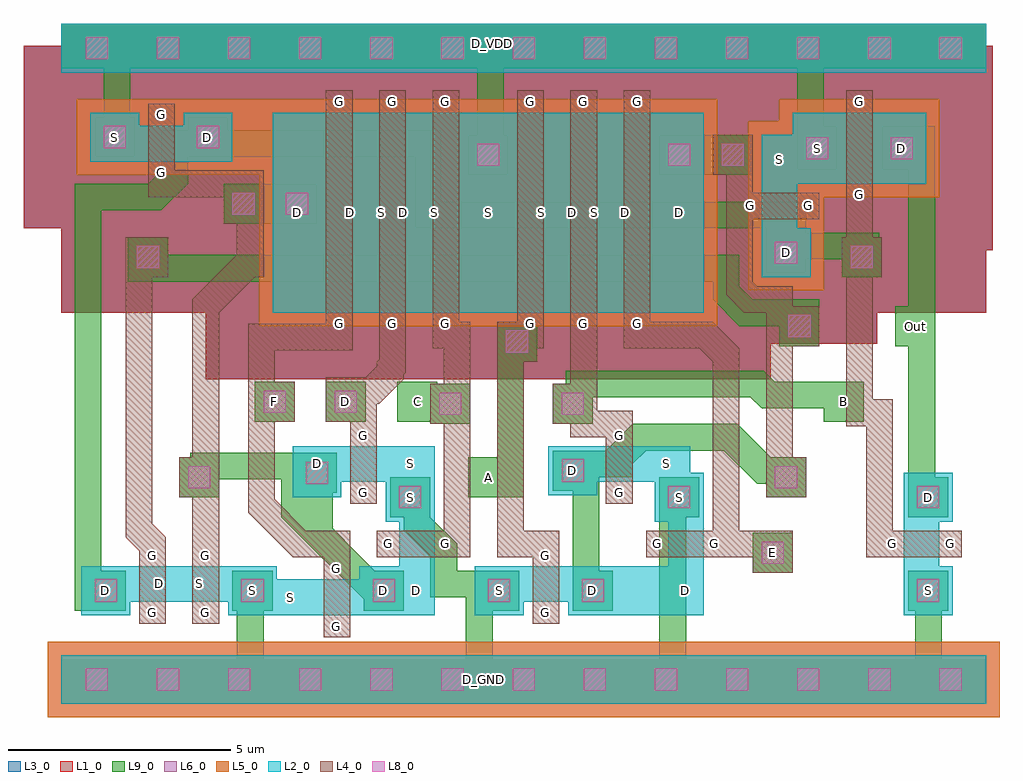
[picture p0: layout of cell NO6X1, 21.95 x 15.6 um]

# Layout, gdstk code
import gdstk
lib = gdstk.Library(unit=1e-6, precision=1e-09)
def R(c, l, rs):  # rectangles x0, y0, x1, y1
    for r in rs: c.add(gdstk.rectangle(r[:2], r[2:], *l))
def A(c, l, x, y, w, h, nx, ny, dx, dy):  # array of equal rectangles
    R(c, l, [(x+i*dx, y+j*dy, x+i*dx+w, y+j*dy+h) for i in range(nx) for j in range(ny)])
def P(c, l, *ps):  # polygons
    for p in ps: c.add(gdstk.Polygon(p, *l))
L1_0 = (1, 0)
L2_0 = (2, 0)
L3_0 = (3, 0)
L4_0 = (4, 0)
L5_0 = (5, 0)
L6_0 = (6, 0)
L8_0 = (8, 0)
L9_0 = (9, 0)

gridx1 = lib.new_cell('GRIDX1')
R(gridx1, L1_0, [(0,8.8,1.6,15.3)])
R(gridx1, L2_0, [(0,0,1.6,1.1), (0,14.2,1.6,15.3)])
R(gridx1, L3_0, [(0,8.8,1.6,15.3)])
R(gridx1, L5_0, [(0,-0.3,1.6,1.4)])
R(gridx1, L6_0, [(0,-0.3,1.6,1.4)])
R(gridx1, L8_0, [(0.55,0.3,1.05,0.8), (0.55,14.5,1.05,15)])
R(gridx1, L9_0, [(0,0,1.6,1), (0,14.3,1.6,15.3)])

no6x1 = lib.new_cell('NO6X1')
A(no6x1, L1_0, 3.25, 7.3, 6, 7.5, 3, 1, 1.2, 0)
A(no6x1, L1_0, 7.55, 7.3, 6, 7.5, 3, 1, 1.2, 0)
R(no6x1, L1_0, [(14.25,8.1,18.35,14.3), (0,8.8,1.6,15.3), (19.2,8.8,20.8,15.3), (14.95,10.2,20.95,14.8), (-0.85,10.7,5.35,14.8)])
A(no6x1, L2_0, 5.85, 8.8, 0.8, 4.5, 3, 1, 1.2, 0)
A(no6x1, L2_0, 10.15, 8.8, 0.8, 4.5, 3, 1, 1.2, 0)
R(no6x1, L2_0, [(0,0,1.6,1.1), (19.2,0,20.8,1.1), (0.45,2,1.55,3.1), (3.75,2,4.85,3.1), (4.6,2,5.7,2.8), (5.7,2,6.7,2.8), (6.7,2,7.8,3.1), (7.6,2,8.4,3.1), (9.3,2,10.4,3.1), (11.4,2,12.5,3.1), (11.4,2,14.25,3.1), (13.65,2,14.45,3.1), (18.95,2,20.05,3.1), (1.55,2.3,2.55,3.1), (1.65,2.3,2.75,3.1), (2.55,2.3,3.65,3.1), (2.75,2.3,3.75,3.1), (10.4,2.3,11.4,3.1), (7.6,3.1,8.4,4.1), (13.65,3.1,14.45,4.1), (18.95,3.1,19.75,4.1), (7.3,4.1,8.4,5.2), (13.35,4.1,14.45,5.2), (18.95,4.1,20.05,5.2), (5.2,4.65,6.3,5.8), (10.95,4.7,12.05,5.8), (5.2,5,6.3,5.8), (6.3,5,7.3,5.8), (7.3,5,8.4,5.8), (12.05,5,13.05,5.8), (13.05,5,14.15,5.8), (4.75,8.8,5.85,13.3), (5.95,8.8,7.05,13.3), (6.65,8.8,7.75,13.3), (7.15,8.8,8.25,13.3), (7.85,8.8,8.95,13.3), (9.05,8.8,10.15,13.3), (9.05,8.8,10.15,13.3), (10.25,8.8,11.35,13.3), (10.95,8.8,12.05,13.3), (11.45,8.8,12.55,13.3), (12.15,8.8,13.25,13.3), (13.35,8.8,14.45,13.3), (15.75,9.6,16.85,10.7), (15.75,10.7,16.55,11.7), (15.75,11.7,16.55,12.8), (16.45,11.7,17.55,13.3), (17.55,11.7,18.35,13.3), (18.35,11.7,19.45,13.3), (0.65,12.2,1.75,13.3), (1.75,12.2,2.75,13), (2.75,12.2,3.85,13.3), (0,14.2,1.6,15.3), (19.2,14.2,20.8,15.3)])
A(no6x1, L3_0, 3.25, 7.3, 6, 7.5, 3, 1, 1.2, 0)
A(no6x1, L3_0, 7.55, 7.3, 6, 7.5, 3, 1, 1.2, 0)
R(no6x1, L3_0, [(14.25,8.1,18.35,14.3), (0,8.8,1.6,15.3), (19.2,8.8,20.8,15.3), (14.95,10.2,20.95,14.8), (-0.85,10.7,5.35,14.8)])
A(no6x1, L4_0, 5.95, 8.3, 0.6, 5.5, 3, 1, 1.2, 0)
A(no6x1, L4_0, 5.95, 8.3, 0.6, 0.5, 3, 2, 1.2, 5)
A(no6x1, L4_0, 10.25, 8.3, 0.6, 5.5, 3, 1, 1.2, 0)
A(no6x1, L4_0, 10.25, 8.3, 0.6, 0.5, 3, 2, 1.2, 5)
R(no6x1, L4_0, [(5.9,1.5,6.5,2), (5.9,1.5,6.5,3.3), (1.75,1.8,2.35,2.3), (1.75,1.8,2.35,3.6), (2.95,1.8,3.55,2.3), (2.95,1.8,3.55,3.6), (10.6,1.8,11.2,2.3), (10.6,1.8,11.2,3.6), (5.9,2.8,6.5,3.3), (15.55,2.95,16.45,3.85), (2.95,3,3.55,5.55), (1.75,3.1,2.35,3.6), (2.95,3.1,3.55,3.6), (10.6,3.1,11.2,3.6), (7.1,3.3,8.9,3.9), (7.1,3.3,7.6,3.9), (7.1,3.3,9.2,3.9), (8.4,3.3,8.9,3.9), (8.6,3.3,9.2,8.5), (13.15,3.3,14.95,3.9), (13.15,3.3,13.65,3.9), (14.05,3.3,16.45,3.9), (14.45,3.3,14.95,3.9), (18.1,3.3,18.7,6.85), (18.45,3.3,20.25,3.9), (18.45,3.3,18.95,3.9), (19.75,3.3,20.25,3.9), (6.5,4.5,7.1,5), (6.5,4.5,7.1,6.3), (12.25,4.5,12.85,5), (12.25,4.5,12.85,6.3), (2.65,4.65,3.55,5.55), (15.85,4.65,16.75,5.55), (6.5,5.7,7.1,7.35), (6.5,5.8,7.1,6.3), (12.25,5.8,12.85,6.3), (8.3,6.3,9.2,7.2), (11.05,6.3,11.95,7.2), (4.35,6.35,5.25,7.25), (5.95,6.35,6.85,7.25), (9.8,7.7,10.7,8.6), (8.35,8,9.2,8.6), (16.15,8.05,17.05,8.95), (14.95,9.35,15.55,11.5), (1.5,9.6,2.4,10.5), (17.55,9.6,18.45,10.5), (3.65,10.8,4.55,11.7), (14.95,10.9,15.55,12.8), (15.25,10.9,17.05,11.5), (15.25,10.9,15.75,11.5), (16.55,10.9,17.05,11.5), (17.65,11.2,18.25,11.7), (17.65,11.2,18.25,13.8), (1.95,11.7,2.55,12.2), (1.95,11.7,2.55,13.5), (14.65,11.9,15.55,12.8), (1.95,13,2.55,13.5), (17.65,13.3,18.25,13.8)])
P(no6x1, L4_0, [(1.95,11.4),(3.5,11.4),(3.5,12),(2.55,12),(2.55,12.3),(1.95,12.3)],
  [(1.45,3.75),(1.75,3.45),(1.75,3.05),(2.35,3.05),(2.35,3.75),(2.05,4.05),(2.05,10.5),(1.45,10.5)],
  [(2.9,11.4),(3.95,11.4),(3.95,9.6),(4.55,9.6),(4.55,12),(2.9,12)],
  [(4.2,4.3),(5.2,3.3),(5.9,3.3),(5.9,2.65),(6.5,2.65),(6.5,3.9),(5.5,3.9),(4.8,4.6),(4.8,7.95),(6.55,7.95),(6.55,8.55),(4.2,8.55)],
  [(14.95,9.2),(15.35,8.8),(15.85,8.8),(15.85,4.65),(16.45,4.65),(16.45,9.4),(15.65,9.4),(15.55,9.5),(15.55,10.5),(14.95,10.5)],
  [(17.65,6.25),(18.7,6.25),(18.7,6.85),(18.25,6.85),(18.25,13.35),(17.65,13.35)],
  [(9.8,3.3),(10.6,3.3),(10.6,1.8),(11.2,1.8),(11.2,3.9),(10.4,3.9),(10.4,8),(10.85,8),(10.85,9.3),(10.25,9.3),(10.25,8.6),(9.8,8.6)],
  [(11.45,6),(12.25,6),(12.25,4.7),(12.85,4.7),(12.85,6.6),(12.05,6.6),(12.05,9.45),(11.45,9.45)],
  [(12.65,8),(14.35,8),(14.65,7.7),(14.65,3.3),(15.25,3.3),(15.25,8),(14.65,8.6),(13.25,8.6),(13.25,9.25),(12.65,9.25)],
  [(2.95,4.95),(3.55,4.95),(3.55,8.8),(4.55,9.8),(4.55,10.5),(3.95,10.5),(3.95,10.1),(2.95,9.1)],
  [(5.95,6.75),(7.15,6.75),(7.7,7.3),(7.7,7.4),(7.75,7.45),(7.75,9.35),(7.15,9.35),(7.15,7.75),(7.1,7.7),(7.1,7.6),(6.85,7.35),(5.95,7.35)])
A(no6x1, L5_0, 4.45, 8.5, 3.6, 5.1, 3, 1, 1.2, 0)
A(no6x1, L5_0, 8.75, 8.5, 3.6, 5.1, 3, 1, 1.2, 0)
R(no6x1, L5_0, [(-0.3,-0.3,1.6,1.4), (19.2,-0.3,21.1,1.4), (15.45,9.3,17.15,13.1), (16.15,11.4,19.75,13.6), (0.35,11.9,4.15,13.6), (3.6,11.9,5.5,13.6)])
A(no6x1, L6_0, 4.45, 8.5, 3.6, 5.1, 3, 1, 1.2, 0)
A(no6x1, L6_0, 8.75, 8.5, 3.6, 5.1, 3, 1, 1.2, 0)
R(no6x1, L6_0, [(-0.3,-0.3,1.6,1.4), (19.2,-0.3,21.1,1.4), (15.45,9.3,17.15,13.1), (16.15,11.4,19.75,13.6), (0.35,11.9,4.15,13.6), (3.6,11.9,5.5,13.6)])
R(no6x1, L8_0, [(0.55,0.3,1.05,0.8), (19.75,0.3,20.25,0.8), (0.75,2.3,1.25,2.8), (4.05,2.3,4.55,2.8), (7,2.3,7.5,2.8), (9.6,2.3,10.1,2.8), (11.7,2.3,12.2,2.8), (19.25,2.3,19.75,2.8), (15.75,3.15,16.25,3.65), (7.6,4.4,8.1,4.9), (13.65,4.4,14.15,4.9), (19.25,4.4,19.75,4.9), (2.85,4.85,3.35,5.35), (16.05,4.85,16.55,5.35), (5.5,4.95,6,5.45), (11.25,5,11.75,5.5), (8.5,6.5,9,7), (11.25,6.5,11.75,7), (4.55,6.55,5.05,7.05), (6.15,6.55,6.65,7.05), (10,7.9,10.5,8.4), (16.35,8.25,16.85,8.75), (1.7,9.8,2.2,10.3), (17.75,9.8,18.25,10.3), (16.05,9.9,16.55,10.4), (3.85,11,4.35,11.5), (5.05,11,5.55,11.5), (9.35,12.1,9.85,12.6), (13.65,12.1,14.15,12.6), (14.85,12.1,15.35,12.6), (16.75,12.25,17.25,12.75), (18.65,12.25,19.15,12.75), (0.95,12.5,1.45,13), (3.05,12.5,3.55,13), (0.55,14.5,1.05,15), (19.75,14.5,20.25,15)])
A(no6x1, L9_0, 4.35, 6.35, 0.9, 0.9, 3, 1, 1.6, 0)
A(no6x1, L9_0, 4.5, 6.5, 0.6, 0.6, 3, 1, 1.6, 0)
R(no6x1, L9_0, [(0,0,1.6,1), (19.2,0,20.8,1), (1.7,0.25,20.25,0.85), (3.95,0.25,4.55,2.85), (9.2,0.25,9.8,0.85), (13.45,0.25,14.05,5.1), (19.2,0.25,19.8,2.85), (9.1,0.3,9.7,2.85), (0.55,2.1,1.45,3), (3.85,2.1,4.75,3), (6.8,2.1,7.7,3), (9.4,2.1,10.3,3), (11.5,2.1,12.4,3), (11.5,2.1,12.1,5.7), (19.05,2.1,19.95,3), (15.55,2.95,16.45,3.85), (15.7,3.1,16.3,3.7), (7.4,4.2,8.3,5.1), (13.45,4.2,14.35,5.1), (19.05,4.2,19.95,5.1), (19.05,4.2,19.65,13), (2.65,4.65,3.55,5.55), (9.15,4.65,10.05,5.55), (15.85,4.65,16.75,5.55), (5.3,4.75,6.2,5.65), (9.3,4.8,9.9,5.4), (11.05,4.8,11.95,5.7), (8.3,6.3,9.2,7.2), (11.05,6.3,11.95,7.2), (17.15,6.35,18.05,7.25), (17.3,6.5,17.9,7.1), (9.8,7.7,10.7,8.6), (16.15,8.05,17.05,8.95), (18.75,8.05,19.65,8.95), (18.9,8.2,19.5,8.8), (1.5,9.5,15.25,10.1), (1.5,9.6,2.4,10.5), (17.55,9.6,18.45,10.5), (15.85,9.7,16.75,10.6), (15.85,9.7,16.75,11.3), (15.85,10,18.4,10.6), (3.65,10.8,4.55,11.7), (3.65,10.8,5.75,11.7), (4.85,10.8,5.75,11.7), (9.15,11.9,10.05,12.8), (13.45,11.9,14.35,12.8), (13.45,11.9,15.55,12.8), (14.65,11.9,15.55,12.8), (16.55,12,17.45,13), (16.55,12,17.15,15.1), (18.45,12,19.35,13), (9.35,12.1,9.95,15.1), (0.75,12.3,1.65,13.2), (2.85,12.3,3.75,13.2), (0.95,12.5,1.55,15.15), (0,14.3,1.6,15.3), (19.2,14.3,20.8,15.3), (0.2,14.55,20.2,15.15), (9.4,14.55,10,15.15)])
P(no6x1, L9_0, [(14.65,9.1),(15.25,8.5),(17.05,8.5),(17.05,9.1),(15.55,9.1),(15.25,9.4),(15.25,10.1),(14.65,10.1)],
  [(9.2,4.65),(10.4,4.65),(10.4,8.6),(9.8,8.6),(9.8,5.25),(9.2,5.25)],
  [(11.35,6.9),(15.5,6.9),(15.75,6.65),(18.05,6.65),(18.05,7.25),(16.05,7.25),(15.8,7.5),(11.35,7.5)],
  [(7.7,3.9),(8.3,3.3),(8.3,2.4),(10.3,2.4),(10.3,3),(8.9,3),(8.9,3.6),(8.3,4.2),(8.3,5.1),(7.7,5.1)],
  [(11.05,5.1),(12.85,5.1),(12.85,5.4),(13.15,5.7),(14.9,5.7),(15.65,4.95),(16.75,4.95),(16.75,5.55),(15.95,5.55),(15.2,6.3),(12.85,6.3),(12.25,5.7),(11.05,5.7)],
  [(2.85,12.3),(7.95,12.3),(7.95,10.7),(16.75,10.7),(16.75,11.3),(8.55,11.3),(8.55,12.9),(2.85,12.9)],
  [(0.3,2.1),(0.9,2.1),(0.9,11.1),(2.25,11.1),(2.85,11.7),(2.85,12.3),(3.75,12.3),(3.75,12.9),(2.25,12.9),(2.25,12),(1.95,11.7),(0.3,11.7)],
  [(5.5,3.65),(5.9,3.25),(6.35,3.7),(6.1,3.95),(6.1,5.4),(5.5,5.4)],
  [(4.95,4.2),(6.9,2.25),(7.7,2.25),(7.7,2.85),(7.2,2.85),(5.55,4.5),(5.55,5.6),(4.95,5.6)],
  [(2.9,4.65),(3.5,4.65),(3.5,5.05),(5.85,5.05),(5.85,5.65),(2.9,5.65)])
no6x1.add(gdstk.Reference(gridx1, (14.4,0)))
no6x1.add(gdstk.Reference(gridx1, (12.8,0)))
no6x1.add(gdstk.Reference(gridx1, (11.2,0)))
no6x1.add(gdstk.Reference(gridx1, (9.6,0)))
no6x1.add(gdstk.Reference(gridx1, (8,0)))
no6x1.add(gdstk.Reference(gridx1, (6.4,0)))
no6x1.add(gdstk.Reference(gridx1, (4.8,0)))
no6x1.add(gdstk.Reference(gridx1, (3.2,0)))
no6x1.add(gdstk.Reference(gridx1, (1.6,0)))
no6x1.add(gdstk.Reference(gridx1, (16,0)))
no6x1.add(gdstk.Reference(gridx1, (17.6,0)))
no6x1.add(gdstk.Label('G', (10.55,8.552), layer=4, texttype=0))
no6x1.add(gdstk.Label('G', (10.55,13.552), layer=4, texttype=0))
no6x1.add(gdstk.Label('S', (9.599,11.051), layer=2, texttype=0))
no6x1.add(gdstk.Label('D', (11.499,11.051), layer=2, texttype=0))
no6x1.add(gdstk.Label('G', (8.65,8.552), layer=4, texttype=0))
no6x1.add(gdstk.Label('G', (8.65,13.552), layer=4, texttype=0))
no6x1.add(gdstk.Label('S', (9.601,11.051), layer=2, texttype=0))
no6x1.add(gdstk.Label('D', (7.701,11.051), layer=2, texttype=0))
no6x1.add(gdstk.Label('G', (15.502,11.2), layer=4, texttype=0))
no6x1.add(gdstk.Label('G', (16.802,11.2), layer=4, texttype=0))
no6x1.add(gdstk.Label('S', (16.151,12.251), layer=2, texttype=0))
no6x1.add(gdstk.Label('D', (16.301,10.151), layer=9, texttype=0))
no6x1.add(gdstk.Label('G', (2.25,11.952), layer=4, texttype=0))
no6x1.add(gdstk.Label('G', (2.25,13.252), layer=4, texttype=0))
no6x1.add(gdstk.Label('S', (1.199,12.751), layer=9, texttype=0))
no6x1.add(gdstk.Label('D', (3.299,12.751), layer=9, texttype=0))
no6x1.add(gdstk.Label('G', (17.95,11.452), layer=4, texttype=0))
no6x1.add(gdstk.Label('G', (17.95,13.552), layer=4, texttype=0))
no6x1.add(gdstk.Label('S', (16.999,12.501), layer=9, texttype=0))
no6x1.add(gdstk.Label('D', (18.899,12.501), layer=9, texttype=0))
no6x1.add(gdstk.Label('G', (11.75,8.552), layer=4, texttype=0))
no6x1.add(gdstk.Label('G', (11.75,13.552), layer=4, texttype=0))
no6x1.add(gdstk.Label('S', (10.799,11.051), layer=2, texttype=0))
no6x1.add(gdstk.Label('D', (12.699,11.051), layer=2, texttype=0))
no6x1.add(gdstk.Label('G', (7.45,8.552), layer=4, texttype=0))
no6x1.add(gdstk.Label('G', (7.45,13.552), layer=4, texttype=0))
no6x1.add(gdstk.Label('S', (8.401,11.051), layer=2, texttype=0))
no6x1.add(gdstk.Label('D', (6.501,11.051), layer=2, texttype=0))
no6x1.add(gdstk.Label('G', (12.95,8.552), layer=4, texttype=0))
no6x1.add(gdstk.Label('G', (12.95,13.552), layer=4, texttype=0))
no6x1.add(gdstk.Label('S', (11.999,11.051), layer=2, texttype=0))
no6x1.add(gdstk.Label('D', (13.899,11.051), layer=2, texttype=0))
no6x1.add(gdstk.Label('G', (6.25,8.552), layer=4, texttype=0))
no6x1.add(gdstk.Label('G', (6.25,13.552), layer=4, texttype=0))
no6x1.add(gdstk.Label('S', (7.201,11.051), layer=2, texttype=0))
no6x1.add(gdstk.Label('D', (5.301,11.051), layer=2, texttype=0))
no6x1.add(gdstk.Label('G', (2.05,3.348), layer=4, texttype=0))
no6x1.add(gdstk.Label('G', (2.05,2.048), layer=4, texttype=0))
no6x1.add(gdstk.Label('S', (3.101,2.699), layer=2, texttype=0))
no6x1.add(gdstk.Label('D', (1.001,2.549), layer=9, texttype=0))
no6x1.add(gdstk.Label('D', (14.049,2.551), layer=2, texttype=0))
no6x1.add(gdstk.Label('G', (14.698,3.6), layer=4, texttype=0))
no6x1.add(gdstk.Label('G', (13.398,3.6), layer=4, texttype=0))
no6x1.add(gdstk.Label('S', (13.899,4.651), layer=9, texttype=0))
no6x1.add(gdstk.Label('G', (10.9,3.348), layer=4, texttype=0))
no6x1.add(gdstk.Label('G', (10.9,2.048), layer=4, texttype=0))
no6x1.add(gdstk.Label('S', (9.849,2.549), layer=9, texttype=0))
no6x1.add(gdstk.Label('D', (11.949,2.549), layer=9, texttype=0))
no6x1.add(gdstk.Label('G', (12.55,6.048), layer=4, texttype=0))
no6x1.add(gdstk.Label('G', (12.55,4.748), layer=4, texttype=0))
no6x1.add(gdstk.Label('S', (13.601,5.399), layer=2, texttype=0))
no6x1.add(gdstk.Label('D', (11.501,5.249), layer=9, texttype=0))
no6x1.add(gdstk.Label('D', (7.999,2.551), layer=2, texttype=0))
no6x1.add(gdstk.Label('G', (8.648,3.6), layer=4, texttype=0))
no6x1.add(gdstk.Label('G', (7.348,3.6), layer=4, texttype=0))
no6x1.add(gdstk.Label('S', (7.849,4.651), layer=9, texttype=0))
no6x1.add(gdstk.Label('D', (5.751,5.399), layer=2, texttype=0))
no6x1.add(gdstk.Label('G', (6.8,6.048), layer=4, texttype=0))
no6x1.add(gdstk.Label('G', (6.8,4.748), layer=4, texttype=0))
no6x1.add(gdstk.Label('S', (7.851,5.399), layer=2, texttype=0))
no6x1.add(gdstk.Label('G', (6.2,1.752), layer=4, texttype=0))
no6x1.add(gdstk.Label('G', (6.2,3.052), layer=4, texttype=0))
no6x1.add(gdstk.Label('S', (5.149,2.401), layer=2, texttype=0))
no6x1.add(gdstk.Label('D', (7.249,2.551), layer=9, texttype=0))
no6x1.add(gdstk.Label('D', (2.201,2.699), layer=2, texttype=0))
no6x1.add(gdstk.Label('G', (3.25,3.348), layer=4, texttype=0))
no6x1.add(gdstk.Label('G', (3.25,2.048), layer=4, texttype=0))
no6x1.add(gdstk.Label('S', (4.301,2.549), layer=9, texttype=0))
no6x1.add(gdstk.Label('G', (18.702,3.6), layer=4, texttype=0))
no6x1.add(gdstk.Label('G', (20.002,3.6), layer=4, texttype=0))
no6x1.add(gdstk.Label('S', (19.501,2.549), layer=9, texttype=0))
no6x1.add(gdstk.Label('D', (19.501,4.649), layer=9, texttype=0))
no6x1.add(gdstk.Label('A', (9.6,5.1), layer=50, texttype=0))
no6x1.add(gdstk.Label('B', (17.6,6.8), layer=50, texttype=0))
no6x1.add(gdstk.Label('C', (8,6.8), layer=50, texttype=0))
no6x1.add(gdstk.Label('D', (6.4,6.8), layer=50, texttype=0))
no6x1.add(gdstk.Label('D_GND', (9.5,0.55), layer=50, texttype=0))
no6x1.add(gdstk.Label('D_VDD', (9.7,14.85), layer=50, texttype=0))
no6x1.add(gdstk.Label('E', (16,3.4), layer=50, texttype=0))
no6x1.add(gdstk.Label('Out', (19.2,8.5), layer=50, texttype=0))
no6x1.add(gdstk.Label('F', (4.8,6.8), layer=50, texttype=0))

lib.write_gds('NO6X1.gds')
